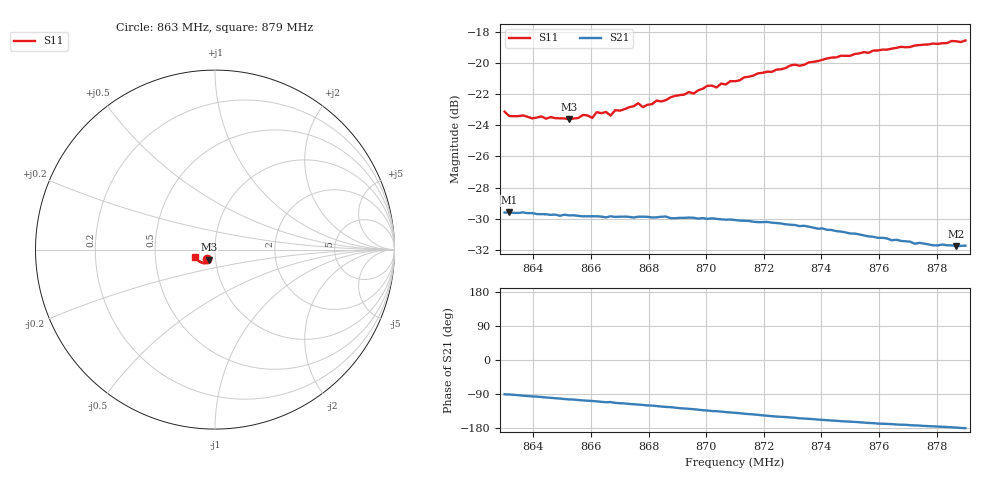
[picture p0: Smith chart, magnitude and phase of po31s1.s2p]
# HZ S RI R 50
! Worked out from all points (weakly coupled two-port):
!   101 points, 863 MHz to 879 MHz, reference 50 ohm
!   highest |S21| = -29.58 dB at 863.16 MHz (marker M1); lowest = -31.8 dB at 878.68 MHz (marker M2)
!   lowest |S11| = -23.6 dB at 865.24 MHz (marker M3), VSWR 1.14, Z = 46.3 - j5.19 ohm
!   |S11| at or under -10 dB: start of sweep to end of sweep
!   S12 and S22 are empty: the file has one direction only
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8.63e8  -0.0435 -0.0545  -0.000323 -0.0331  0 0  0 0
8.6316e8  -0.0416 -0.0532  -0.000555 -0.0332  0 0  0 0
8.6524e8  -0.0352 -0.0558  -0.00789 -0.0315  0 0  0 0
8.6572e8  -0.0344 -0.0587  -0.00923 -0.0309  0 0  0 0
8.6604e8  -0.0337 -0.0574  -0.01 -0.0306  0 0  0 0
8.662e8  -0.0352 -0.06  -0.0106 -0.0304  0 0  0 0
8.6652e8  -0.0339 -0.0608  -0.0117 -0.0298  0 0  0 0
8.6668e8  -0.0359 -0.0575  -0.0115 -0.0301  0 0  0 0
8.6684e8  -0.0339 -0.0618  -0.0126 -0.0295  0 0  0 0
8.6764e8  -0.036 -0.0649  -0.0149 -0.0285  0 0  0 0
8.678e8  -0.0347 -0.0632  -0.0154 -0.0282  0 0  0 0
8.6828e8  -0.0363 -0.0664  -0.0167 -0.0273  0 0  0 0
8.6844e8  -0.0358 -0.0662  -0.0174 -0.027  0 0  0 0
8.694e8  -0.0404 -0.0698  -0.02 -0.0249  0 0  0 0
8.6956e8  -0.0406 -0.0686  -0.0204 -0.0245  0 0  0 0
8.7004e8  -0.0435 -0.0724  -0.0217 -0.023  0 0  0 0
8.7036e8  -0.0433 -0.0713  -0.0224 -0.0223  0 0  0 0
8.71e8  -0.0473 -0.0734  -0.0238 -0.0204  0 0  0 0
8.7372e8  -0.0678 -0.0746  -0.0271 -0.012  0 0  0 0
8.7644e8  -0.0922 -0.0619  -0.0265 -0.00504  0 0  0 0
8.7868e8  -0.1089 -0.0434  -0.0258 -0.000754  0 0  0 0
8.79e8  -0.1111 -0.0397  -0.026 -8.9e-05  0 0  0 0
